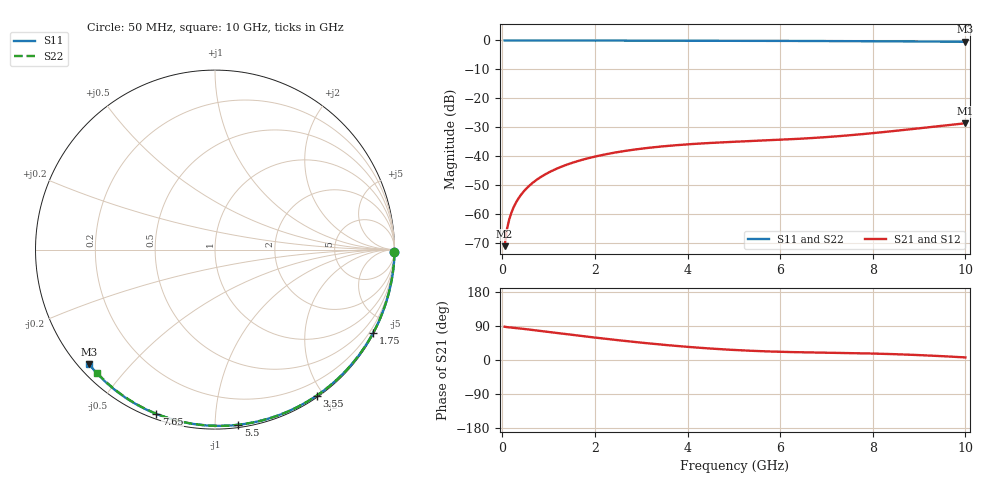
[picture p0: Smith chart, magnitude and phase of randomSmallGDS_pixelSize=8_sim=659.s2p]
! freq	dB(S11)	phase(S11)	dB(S12)	phase(S12)
!  dB(S21)	phase(S21)	dB(S22)	phase(S22)
!S-par simulation data
#  GHz  S  DB  R 50
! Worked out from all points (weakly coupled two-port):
!   200 points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, 50 MHz to 10 GHz, reference 50 ohm
!   highest |S21| = -28.64 dB at 10 GHz (marker M1); lowest = -71.2 dB at 50 MHz (marker M2)
!   lowest |S11| = -0.5 dB at 10 GHz (marker M3), VSWR 38.03, Z = 1.51 - j19.4 ohm
!   |S11| at or under -10 dB: nowhere
!   |S22| runs from -0.4 to 0.0 dB; largest |S21 - S12| = 0
!   S11 on the Smith chart (normalised r, x): 50 MHz: open; 1.75 GHz: 0.04, -4.03; 3.55 GHz: 0.02, -1.92; 5.5 GHz: 0.02, -1.14; 7.65 GHz: 0.02, -0.70; 10 GHz: 0.03, -0.39
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0.05  -0.00 -0.8  -71.16 87.8  -71.16 87.8  -0.00 -0.8
0.1  -0.00 -1.6  -65.30 86.8  -65.30 86.8  -0.00 -1.6
0.15  -0.00 -2.4  -61.87 86.2  -61.87 86.2  -0.00 -2.4
0.2  -0.00 -3.2  -59.42 85.6  -59.42 85.6  -0.00 -3.2
0.25  -0.00 -4.1  -57.51 85.0  -57.51 85.0  -0.00 -3.9
0.35  -0.00 -5.7  -54.63 83.7  -54.63 83.7  -0.00 -5.5
0.5  -0.01 -8.1  -51.57 81.5  -51.57 81.5  -0.01 -7.9
0.7  -0.01 -11.3  -48.69 78.6  -48.69 78.6  -0.01 -11.0
1  -0.02 -16.1  -45.69 74.0  -45.69 74.0  -0.02 -15.6
1.35  -0.03 -21.6  -43.22 68.7  -43.22 68.7  -0.03 -21.0
1.75  -0.04 -27.9  -41.18 62.8  -41.18 62.8  -0.03 -27.1
2.5  -0.05 -39.5  -38.60 52.3  -38.60 52.3  -0.05 -38.4
3.4  -0.07 -52.9  -36.73 41.0  -36.73 41.0  -0.07 -51.5
3.55  -0.07 -55.1  -36.51 39.4  -36.51 39.4  -0.07 -53.6
4.3  -0.09 -65.9  -35.63 31.9  -35.63 31.9  -0.09 -64.1
5.05  -0.12 -76.3  -35.02 26.2  -35.02 26.2  -0.11 -74.3
5.5  -0.13 -82.4  -34.71 23.7  -34.71 23.7  -0.13 -80.2
6.7  -0.19 -97.9  -33.75 19.8  -33.75 19.8  -0.18 -95.4
7.65  -0.25 -109.7  -32.59 17.9  -32.59 17.9  -0.24 -106.8
8.35  -0.30 -118.2  -31.50 15.9  -31.50 15.9  -0.29 -115.0
9.2  -0.37 -128.2  -30.04 11.9  -30.04 11.9  -0.36 -124.8
10  -0.46 -137.6  -28.64 6.8  -28.64 6.8  -0.44 -133.8
